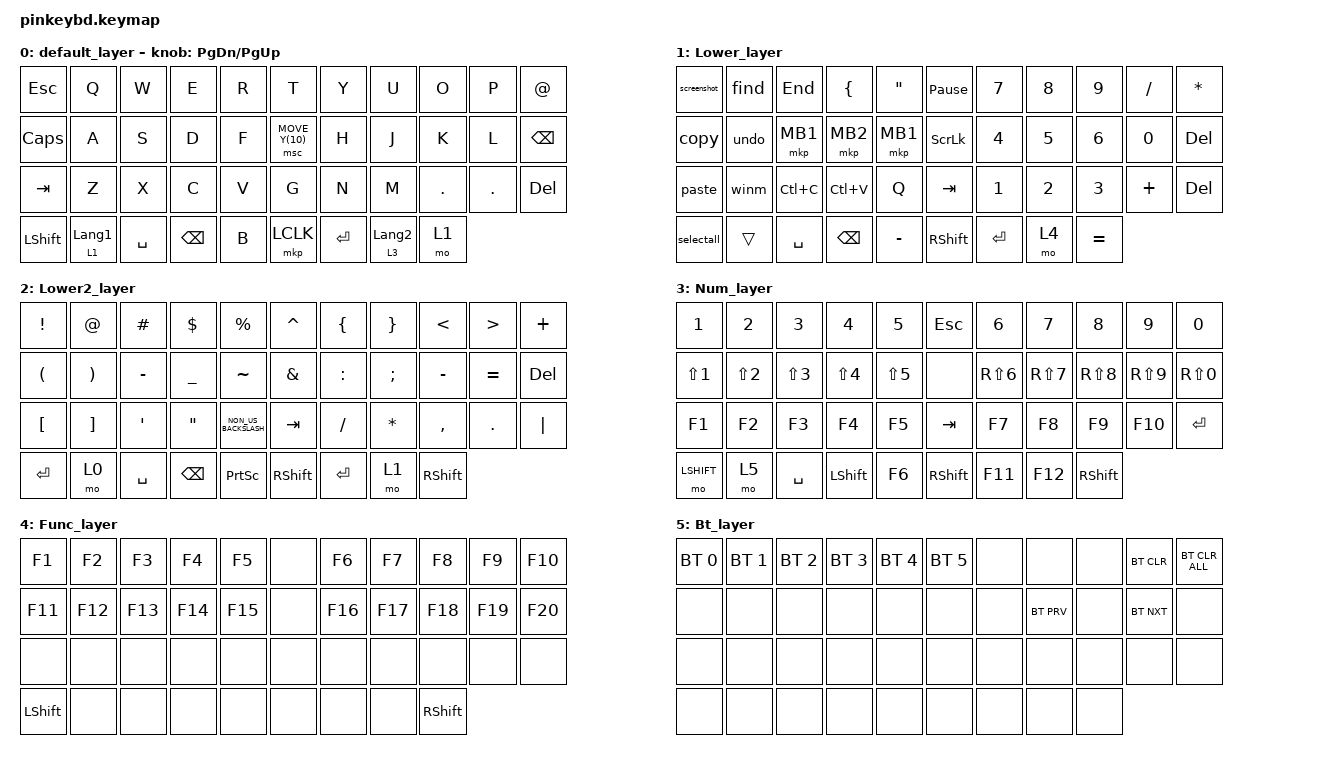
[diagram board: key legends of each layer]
#include <behaviors.dtsi>
#include <dt-bindings/zmk/bt.h>
#include <dt-bindings/zmk/keys.h>
#include <dt-bindings/zmk/pointing.h>

#define ZMK_POINTING_DEFAULT_SCRL_VAL 80

&lt { tapping-term-ms = <140>; };

/ {
    behaviors {
        rot_kp: sensor_rotate_kp {
            compatible = "zmk,behavior-sensor-rotate-var";
            #sensor-binding-cells = <2>;
            bindings = <&kp>, <&kp>;
        };
    };

    macros {
        screenshot: screenshot {
            compatible = "zmk,behavior-macro";
            #binding-cells = <0>;
            bindings = <&kp LG(LC(S))>;
            label = "SCREENSHOT";
        };

        copy: copy {
            compatible = "zmk,behavior-macro";
            #binding-cells = <0>;
            bindings = <&kp LC(C)>;
            label = "COPY";
        };

        paste: paste {
            compatible = "zmk,behavior-macro";
            #binding-cells = <0>;
            bindings = <&kp LC(V)>;
            label = "PASTE";
        };

        cut: cut {
            compatible = "zmk,behavior-macro";
            #binding-cells = <0>;
            bindings = <&kp LC(X)>;
            label = "CUT";
        };

        winm: winm {
            compatible = "zmk,behavior-macro";
            #binding-cells = <0>;
            bindings = <&kp LG(M)>;
            label = "WINM";
        };

        undo: undo {
            compatible = "zmk,behavior-macro";
            #binding-cells = <0>;
            bindings = <&kp LC(Z)>;
            label = "UNDO";
        };

        save: save {
            compatible = "zmk,behavior-macro";
            #binding-cells = <0>;
            bindings = <&kp LC(S)>;
            label = "SAVE";
        };

        selectall: selectall {
            compatible = "zmk,behavior-macro";
            #binding-cells = <0>;
            bindings = <&kp LC(A)>;
            label = "SELECTALL";
        };

        find: find {
            compatible = "zmk,behavior-macro";
            #binding-cells = <0>;
            bindings = <&kp LC(F)>;
            label = "FIND";
        };
    };

    keymap {
        compatible = "zmk,keymap";

        // ---------------------------------------------------------------------------------------------------------------------------------------------------------------------------------------------------------------
        // |        /       |       ,       |       .       |      -        |      ;       |    ESC         |                   |           |       L      |       R       |       D       |       Y       |      P      |
        // |        A       |       O       |       E       |      I        |      U       |    SCROLLLOCK  |                   |           |       G      |       N       |       T       |       S       |      K      |
        // |        X       |       C       |       V       |      W        |      Q       |    TAB         |                   |     F     |       J      |       H       |       M       |       B       |      Z      |
        // |    L_SHIFT     |               |               |   LOWER / Jp  |    Space     |    LEFT_WIN    |                   |  R_SHIFT  |      ENTER   |  LOWER2 / Ja  |               |               |   FUN_L     |
        // ---------------------------------------------------------------------------------------------------------------------------------------------------------------------------------------------------------------

        default_layer {
            bindings = <
&kp ESCAPE  &kp Q             &kp W      &kp E          &kp R  &kp T            &kp Y      &kp U             &kp O       &kp P    &kp AT_SIGN
&kp CLCK    &kp A             &kp S      &kp D          &kp F  &msc MOVE_Y(10)  &kp H      &kp J             &kp K       &kp L    &kp BACKSPACE
&kp TAB     &kp Z             &kp X      &kp C          &kp V  &kp G            &kp N      &kp M             &kp PERIOD  &kp DOT  &kp DELETE
&kp LSHIFT  &lt 1 LANGUAGE_1  &kp SPACE  &kp BACKSPACE  &kp B  &mkp LCLK        &kp ENTER  &lt 3 LANGUAGE_2  &mo 1
            >;

            sensor-bindings = <&rot_kp PG_DN PG_UP>;
        };

        // ----------------------------------------------------------------------------------------------------------------------------------------------------------------------------------------------------------------
        // |    /           |       ,       |       END     |     （        |      ”        |    PAUSE_BREAK|                  |            |      （       |       ）     |        ↑      |        [      |      ]      |
        // |    HOME        |       C_SAVE  |       END     |       ）      |       U       |    SCROLLLOCK |                  |            |   Backspace   |       ←      |        ↓      |        →      |     DEL     |
        // |    UNDO        |       CUT     |       COPY    |       PASTE   |       Q       |    TAB        |                  |   PSCRN    |    ' / "      |    = / +     |    \ / |      |    ` / ~      |    INS      |
        // |    L_SHIFT     |               |               |       none    |    SPACE      |    LALT       |                  |   RSHIFT   |   ENTER       |       FUN_L  |               |               |    RCTRL    |
        // ----------------------------------------------------------------------------------------------------------------------------------------------------------------------------------------------------------------

        Lower_layer {
            bindings = <
&screenshot  &find   &kp END    &kp LEFT_BRACE  &kp DOUBLE_QUOTES  &kp PAUSE_BREAK  &kp N7        &kp N8        &kp N9        &kp SLASH  &kp ASTRK
&copy        &undo   &mkp MB1   &mkp MB2        &mkp MB1           &kp SCROLLLOCK   &kp NUMBER_4  &kp N5        &kp NUMBER_6  &kp N0     &kp DEL
&paste       &winm   &kp LC(C)  &kp LC(V)       &kp Q              &kp TAB          &kp NUMBER_1  &kp NUMBER_2  &kp NUMBER_3  &kp PLUS   &kp DELETE
&selectall   &trans  &kp SPACE  &kp BACKSPACE   &kp MINUS          &kp RSHIFT       &kp ENTER     &mo 4         &kp EQUAL
            >;
        };

        // -------------------------------------------------------------------------------------------------------------------------------------------------------------------------------------------------------------
        // |    /           |       ,        |       END     |       {       |       ’      |    ESC        |                  |            |      L      |      R         |    PG_UP      |     {       |      }      |
        // |    HOME        |       C_SAVE   |       END     |       }       |       U      |    LCTRL      |                  |            |  Backspace  |    HOME        |    PG_DN      |    END      |    DEL      |
        // |    UNDO        |       CUT      |       COPY    |       PASTE   |       Q      |    TAB        |                  |      F     |    ' / "    |    = / +       |    \ / |      |    ` / ~    |    INS      |
        // |    L_SHIFT     |                |               |       BT_L    |      SPACE   |    LALT       |                  |   ENTER    |    none     |   R_SHIFT      |               |             |   R_SHIFT   |
        // -------------------------------------------------------------------------------------------------------------------------------------------------------------------------------------------------------------

        Lower2_layer {
            bindings = <
&kp EXCLAMATION       &kp AT                 &kp HASH          &kp DOLLAR         &kp PERCENT           &kp CARET      &kp LEFT_BRACE  &kp RIGHT_BRACE  &kp LESS_THAN  &kp GREATER_THAN  &kp PLUS
&kp LEFT_PARENTHESIS  &kp RIGHT_PARENTHESIS  &kp MINUS         &kp UNDER          &kp TILDE             &kp AMPERSAND  &kp COLON       &kp SEMICOLON    &kp MINUS      &kp EQUAL         &kp DEL
&kp LEFT_BRACKET      &kp RIGHT_BRACKET      &kp SINGLE_QUOTE  &kp DOUBLE_QUOTES  &kp NON_US_BACKSLASH  &kp TAB        &kp SLASH       &kp ASTERISK     &kp COMMA      &kp PERIOD        &kp PIPE
&kp ENTER             &mo 0                  &kp SPACE         &kp BACKSPACE      &kp PSCRN             &kp RSHIFT     &kp ENTER       &mo 1            &kp RSHIFT
            >;
        };

        // --------------------------------------------------------------------------------------------------------------------------------------------------------------------------------------------------------------
        // |        1       |      2        |       3       |       4       |       5       |    ESC        |               |            |      6       |      7        |       8       |       9       |       0       |
        // |        !       |      @        |       #       |       $       |       %       |    none       |               |            |      ^       |      &        |       *       |       (       |       )       | 
        // |        F1      |     F2        |     F3        |       F4      |       F5      |    TAB        |               |     F11    |    ' / "     |    = / +      |    \ / |      |    ` / ~      |       INS     |
        // |    L_SHIFT     |               |               | En / LOWER    |    Space      |    LSIHT      |               |   R_SHIFT  |      ENTER   |     none      |               |               |       R_SHIFT |
        // --------------------------------------------------------------------------------------------------------------------------------------------------------------------------------------------------------------

        Num_layer {
            bindings = <
&kp N1      &kp N2      &kp N3      &kp N4      &kp N5      &kp ESC     &kp N6      &kp N7      &kp N8      &kp N9      &kp N0
&kp LS(N1)  &kp LS(N2)  &kp LS(N3)  &kp LS(N4)  &kp LS(N5)  &none       &kp RS(N6)  &kp RS(N7)  &kp RS(N8)  &kp RS(N9)  &kp RS(N0)
&kp F1      &kp F2      &kp F3      &kp F4      &kp F5      &kp TAB     &kp F7      &kp F8      &kp F9      &kp F10     &kp ENTER
&mo LSHIFT  &mo 5       &kp SPACE   &kp LSHIFT  &kp F6      &kp RSHIFT  &kp F11     &kp F12     &kp RSHIFT
            >;
        };

        // ---------------------------------------------------------------------------------------------------------------------------------------------------------------------------------
        // |     F1      |     F2     |     F3     |     F4     |    F5      |    none    |                |            |    F6      |    F7      |    F8      |    F9       |     F10     |
        // |     F11     |     F12    |     F13    |     F14    |    F15     |    none    |                |   none     |    F16     |    F17     |    F18     |    F19      |     F20     |
        // |     none    |    none    |    none    |    none    |   none     |    none    |                |   none     |    none    |    none    |    none    |    none     |     none    |
        // |     L_SHIFT |    none    |    none    |    none    |   none     |    none    |                |   none     |    none    |    none    |    none    |    none     |     R_SHIFT |
        // ---------------------------------------------------------------------------------------------------------------------------------------------------------------------------------

        Func_layer {
            bindings = <
&kp F1      &kp F2   &kp F3   &kp F4   &kp F5   &none  &kp F6   &kp F7   &kp F8      &kp F9   &kp F10
&kp F11     &kp F12  &kp F13  &kp F14  &kp F15  &none  &kp F16  &kp F17  &kp F18     &kp F19  &kp F20
&none       &none    &none    &none    &none    &none  &none    &none    &none       &none    &none
&kp LSHIFT  &none    &none    &none    &none    &none  &none    &none    &kp RSHIFT
            >;
        };

        // --------------------------------------------------------------------------------------------------------------------------------------------------------------------------------
        // |    none    |    none    |    none    |    none    |   none     |    none    |                  |            |    none    |    none    |    none    |   none     |    none    |
        // |  BT_SEL 0  |  BT_SEL 1  |  BT_SEL 2  |  BT_SEL 3  |   none     |    none    |                  |            |    none    |    none    |    none    |   BT_CLR   | BT_CLR_ALL |
        // |    none    |    none    |    none    |    none    |   none     |    none    |                  |    none    |    none    |   BT_PRV   |    none    |   BT_NXT   |    none    |
        // |    none    |    none    |    none    |    none    |   none     |    none    |                  |    none    |    none    |    none    |    none    |   none     |    none    |
        // --------------------------------------------------------------------------------------------------------------------------------------------------------------------------------

        Bt_layer {
            bindings = <
&bt BT_SEL 0  &bt BT_SEL 1  &bt BT_SEL 2  &bt BT_SEL 3  &bt BT_SEL 4  &bt BT_SEL 5  &none  &none       &none  &bt BT_CLR  &bt BT_CLR_ALL
&none         &none         &none         &none         &none         &none         &none  &bt BT_PRV  &none  &bt BT_NXT  &none
&none         &none         &none         &none         &none         &none         &none  &none       &none  &none       &none
&none         &none         &none         &none         &none         &none         &none  &none       &none
            >;
        };
    };
};
